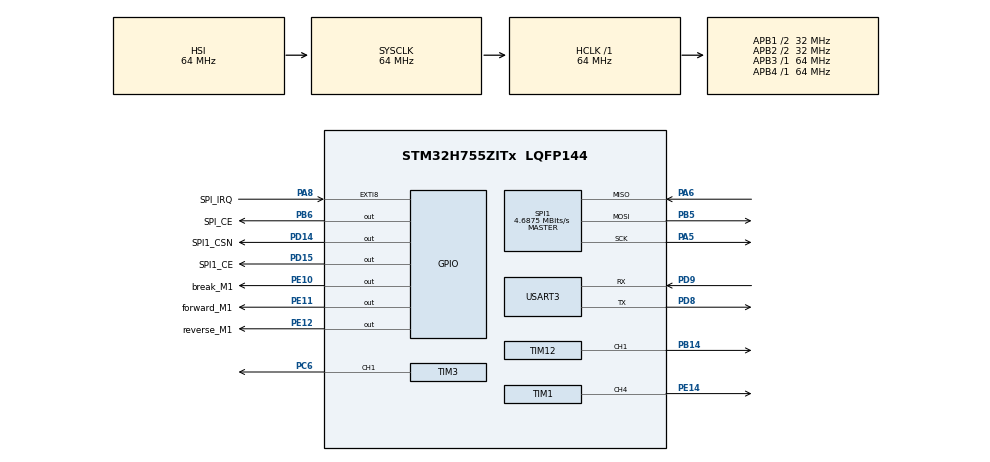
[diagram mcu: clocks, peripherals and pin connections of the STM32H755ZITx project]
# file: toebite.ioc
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CortexM4.IPs=CORTEX_M4\:I,DEBUG,FATFS_M4\:I,FREERTOS_M4\:I,IWDG2\:I,OPENAMP_M4\:I,PDM2PCM_M4\:I,PWR,RCC,RESMGR_UTILITY,SYS_M4\:I,USB_DEVICE_M4\:I,USB_HOST_M4\:I,VREFBUF,WWDG2\:I,GPIO,DMA,BDMA,MDMA,NVIC2\:I
CortexM7.IPs=CORTEX_M7\:I,DEBUG\:I,FATFS_M7\:I,FREERTOS_M7\:I,IWDG1\:I,OPENAMP_M7\:I,PDM2PCM_M7\:I,PWR\:I,RCC\:I,RESMGR_UTILITY\:I,SYS\:I,USB_DEVICE_M7\:I,USB_HOST_M7\:I,VREFBUF\:I,WWDG1\:I,GPIO\:I,DMA\:I,BDMA\:I,MDMA\:I,NVIC1\:I,SPI1\:I,USART3\:I,USB_OTG_FS\:I,TIM14\:I,TIM12\:I,TIM1\:I,TIM3\:I
CortexM7.Pins=PD14,PD15,PA8,PB6
Mcu.Family=STM32H7
Mcu.Name=STM32H755ZITx
Mcu.Package=LQFP144
NVIC1.EXTI9_5_IRQn=true\:0\:0\:false\:false\:true\:true\:true\:true
NVIC1.PriorityGroup=NVIC_PRIORITYGROUP_4
NVIC1.TIM3_IRQn=true\:0\:0\:false\:false\:true\:true\:true\:true
NVIC2.PriorityGroup=NVIC_PRIORITYGROUP_4
PA5.Mode=Full_Duplex_Master
PA5.PinAttribute=CortexM7
PA5.Signal=SPI1_SCK
PA6.Mode=Full_Duplex_Master
PA6.PinAttribute=CortexM7
PA6.Signal=SPI1_MISO
PA8.GPIO_Label=SPI_IRQ
PA8.GPIO_ModeDefaultEXTI=GPIO_MODE_IT_FALLING
PA8.PinAttribute=CortexM7
PA8.Signal=GPXTI8
PB14.PinAttribute=CortexM7
PB14.Signal=S_TIM12_CH1
PB5.Mode=Full_Duplex_Master
PB5.PinAttribute=CortexM7
PB5.Signal=SPI1_MOSI
PB6.GPIO_Label=SPI_CE
PB6.GPIO_Speed=GPIO_SPEED_FREQ_HIGH
PB6.PinAttribute=CortexM7
PB6.Signal=GPIO_Output
PC6.PinAttribute=CortexM7
PC6.Signal=S_TIM3_CH1
PD14.GPIO_Label=SPI1_CSN
PD14.GPIO_Speed=GPIO_SPEED_FREQ_HIGH
PD14.PinAttribute=CortexM7
PD14.Signal=GPIO_Output
PD15.GPIO_Label=SPI1_CE
PD15.GPIO_Speed=GPIO_SPEED_FREQ_HIGH
PD15.PinAttribute=CortexM7
PD15.Signal=GPIO_Output
PD8.Mode=Asynchronous
PD8.PinAttribute=CortexM7
PD8.Signal=USART3_TX
PD9.Mode=Asynchronous
PD9.PinAttribute=CortexM7
PD9.Signal=USART3_RX
PE10.GPIO_Label=break_M1
PE10.PinAttribute=Free
PE10.Signal=GPIO_Output
PE11.GPIO_Label=forward_M1
PE11.PinAttribute=Free
PE11.Signal=GPIO_Output
PE12.GPIO_Label=reverse_M1
PE12.PinAttribute=Free
PE12.Signal=GPIO_Output
PE14.PinAttribute=CortexM7
PE14.Signal=S_TIM1_CH4
ProjectManager.HeapSize=M4-0x200,M7-0x200
ProjectManager.StackSize=M4-0x400,M7-0x400
ProjectManager.TargetToolchain=Makefile
RCC.ADCFreq_Value=129000000
RCC.APB1Freq_Value=32000000
RCC.APB2Freq_Value=32000000
RCC.APB3Freq_Value=64000000
RCC.APB4Freq_Value=64000000
RCC.CortexFreq_Value=64000000
RCC.D2PPRE1=RCC_APB1_DIV2
RCC.D2PPRE2=RCC_APB2_DIV2
RCC.DIVM1=4
RCC.DIVN1=9
RCC.HCLKFreq_Value=64000000
RCC.PLLFRACN=3072
RCC.SYSCLKFreq_VALUE=64000000
RCC.USBFreq_Value=75000000
SH.S_TIM12_CH1.0=TIM12_CH1,PWM Generation1 CH1
SH.S_TIM1_CH4.0=TIM1_CH4,PWM Generation4 CH4
SH.S_TIM3_CH1.0=TIM3_CH1,Output Compare1 CH1
SPI1.BaudRatePrescaler=SPI_BAUDRATEPRESCALER_16
SPI1.CalculateBaudRate=4.6875 MBits/s
SPI1.DataSize=SPI_DATASIZE_8BIT
SPI1.Direction=SPI_DIRECTION_2LINES
SPI1.Mode=SPI_MODE_MASTER
SPI1.VirtualType=VM_MASTER
SYS.userName=SYS_M7
TIM1.Channel-PWM\ Generation4\ CH4=TIM_CHANNEL_4
TIM1.CounterMode=TIM_COUNTERMODE_UP
TIM1.Period=10000
TIM1.Prescaler=63
TIM1.Pulse-PWM\ Generation4\ CH4=2000
TIM12.Channel-PWM\ Generation1\ CH1=TIM_CHANNEL_1
TIM12.Period=100
TIM12.Prescaler=63999
TIM12.Pulse-PWM\ Generation1\ CH1=80
TIM14.Period=100
TIM14.Prescaler=63999
TIM3.Channel-Output\ Compare1\ CH1=TIM_CHANNEL_1
TIM3.Period=65535
TIM3.Prescaler=63
USART3.VirtualMode-Asynchronous=VM_ASYNC
VP_SYS_M4_VS_Systick.Mode=SysTick
VP_TIM14_VS_ClockSourceINT.Mode=Enable_Timer
board=custom

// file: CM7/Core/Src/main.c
/* USER CODE BEGIN Header */
/**
  ******************************************************************************
  * @file           : main.c
  * @brief          : Main program body
  ******************************************************************************
  * @attention
  *
  * Copyright (c) 2023 STMicroelectronics.
  * All rights reserved.
  *
  * This software is licensed under terms that can be found in the LICENSE file
  * in the root directory of this software component.
  * If no LICENSE file comes with this software, it is provided AS-IS.
  *
  ******************************************************************************
  */
/* USER CODE END Header */
#include "main.h"

/* USER CODE BEGIN Includes */

#include "motor.h"
#include "timer.h"
#include "nrf24l01p.h"
#include <stdarg.h>

/* USER CODE END Includes */

/* USER CODE BEGIN PTD */
static GPIO_InitTypeDef GPIO_InitStruct;
/* USER CODE END PTD */

/* USER CODE BEGIN PD */

#ifndef HSEM_ID_0
#define HSEM_ID_0 (0U) /* HW semaphore 0*/
#endif
#define TRANSMITTER
// #define RECEIVER
/* USER CODE END PD */

SPI_HandleTypeDef hspi1;

TIM_HandleTypeDef htim1;
TIM_HandleTypeDef htim3;
TIM_HandleTypeDef htim12;
TIM_HandleTypeDef htim14;

UART_HandleTypeDef huart3;

/* USER CODE BEGIN PV */
Timer timer3 = {&htim3, 0};

/* USER CODE END PV */

void SystemClock_Config(void);
static void MX_GPIO_Init(void);
static void MX_SPI1_Init(void);
static void MX_USART3_UART_Init(void);
static void MX_TIM12_Init(void);
static void MX_TIM14_Init(void);
static void MX_TIM1_Init(void);
static void MX_TIM3_Init(void);
/* USER CODE BEGIN PFP */

#ifdef __GNUC__
#define PUTCHAR_PROTOTYPE int __io_putchar(int ch)
#else
#define PUTCHAR_PROTOTYPE int fputc(int ch, FILE *f)
#endif

PUTCHAR_PROTOTYPE
{
  HAL_UART_Transmit(&huart3, (uint8_t *)&ch, 1, HAL_MAX_DELAY);
  return ch;
}

/* USER CODE END PFP */

/* USER CODE BEGIN 0 */
// void HAL_TIM_PeriodElapsedCallback(TIM_HandleTypeDef *htim){
//   printf_uart("Timer callback called\n\r");
// }
uint8_t tx_data[NRF24L01P_PAYLOAD_LENGTH] = {0, 1, 2, 3, 4, 5, 6, 7};

void HAL_GPIO_EXTI_Callback(uint16_t GPIO_Pin){
	if(GPIO_Pin == NRF24L01P_IRQ_PIN_NUMBER)
	{
  #ifdef RECEIVER
        nrf24l01p_rx_receive(rx_data);
  #endif

  #ifdef TRANSMITTER
      nrf24l01p_tx_irq();
  #endif
    }
}

int printf_uart(const char *format, ...){
  va_list argp;
  va_start(argp, format);
  uint8_t buf[256] = {};
  int length = vsnprintf(buf, 256, format, argp);
  va_end(argp);

  if (length >= 256 || length < 0) {
    HAL_UART_Transmit(&huart3, "Err: Message cutoff or bad\n", 27, HAL_MAX_DELAY);
    return -1;
  }
  HAL_UART_Transmit(&huart3, buf, length, HAL_MAX_DELAY);
  return 0;

}

/* USER CODE END 0 */

int main(void)
{
  /* USER CODE BEGIN 1 */
  MotorPWM motor1 = {&htim1, TIM_CHANNEL_4, 0, GPIO_PIN_15, GPIO_PIN_13, GPIO_PIN_0, GPIOD, GPIOD, GPIOE};
  nrf24l01p_tx_init(2450, _1Mbps);
  startMotor(&motor1);

  /* USER CODE END 1 */
/* USER CODE BEGIN Boot_Mode_Sequence_0 */
  int32_t timeout;
/* USER CODE END Boot_Mode_Sequence_0 */

/* USER CODE BEGIN Boot_Mode_Sequence_1 */
  /* Wait until CPU2 boots and enters in stop mode or timeout*/
  timeout = 0xFFFF;
  while((__HAL_RCC_GET_FLAG(RCC_FLAG_D2CKRDY) != RESET) && (timeout-- > 0));
  if ( timeout < 0 )
  {
  Error_Handler();
  }
/* USER CODE END Boot_Mode_Sequence_1 */
  /* MCU Configuration--------------------------------------------------------*/

  /* Reset of all peripherals, Initializes the Flash interface and the Systick. */
  HAL_Init();

  /* USER CODE BEGIN Init */
  __HAL_RCC_GPIOB_CLK_ENABLE();
  GPIO_InitStruct.Mode  = GPIO_MODE_OUTPUT_PP;
  GPIO_InitStruct.Pull  = GPIO_NOPULL;
  GPIO_InitStruct.Speed = GPIO_SPEED_FREQ_HIGH;
  GPIO_InitStruct.Pin = GPIO_PIN_14; // pin D04
  HAL_GPIO_Init(GPIOB, &GPIO_InitStruct);

  /* USER CODE END Init */

  /* Configure the system clock */
  SystemClock_Config();
/* USER CODE BEGIN Boot_Mode_Sequence_2 */
/* When system initialization is finished, Cortex-M7 will release Cortex-M4 by means of
HSEM notification */
/*HW semaphore Clock enable*/
__HAL_RCC_HSEM_CLK_ENABLE();
/*Take HSEM */
HAL_HSEM_FastTake(HSEM_ID_0);
/*Release HSEM in order to notify the CPU2(CM4)*/
HAL_HSEM_Release(HSEM_ID_0,0);
/* wait until CPU2 wakes up from stop mode */
timeout = 0xFFFF;
while((__HAL_RCC_GET_FLAG(RCC_FLAG_D2CKRDY) == RESET) && (timeout-- > 0));
if ( timeout < 0 )
{
Error_Handler();
}
/* USER CODE END Boot_Mode_Sequence_2 */

  /* Initialize all configured peripherals */
  MX_GPIO_Init();
  MX_SPI1_Init();
  MX_USART3_UART_Init();
  MX_TIM12_Init();
  MX_TIM14_Init();
  MX_TIM1_Init();
  MX_TIM3_Init();

  /* Infinite loop */
  /* USER CODE BEGIN WHILE */
  HAL_TIM_Base_Start(&htim12);
  HAL_TIM_PWM_Init(&htim12);
  HAL_TIM_PWM_Start(&htim12, TIM_CHANNEL_1);
  HAL_TIM_Base_Start(&htim1);
  HAL_TIM_PWM_Init(&htim1);
  HAL_TIM_PWM_Start(&htim1, TIM_CHANNEL_4);
  while (1)
  {
    // for (int i = 0; i < 100; i++)
    // {
    //   setSpeed(&motor1, i);
    //   HAL_Delay(100);
    // }
    // for (int i = 100; i > 0; i--)
    // {
    //   setSpeed(&motor1, i);
    //   HAL_Delay(100);
    // }
#ifdef RECEIVER
	  // Nothing to do
#endif

#ifdef TRANSMITTER

	  for(int i= 0; i < 8; i++)
	  {
		  tx_data[i]++;
	  }

	  // nrf24l01p_tx_transmit(tx_data);
    // HAL_GPIO_WritePin(GPIOB, GPIO_PIN_14, GPIO_PIN_SET);
    // HAL_Delay(100);
    // uint8_t tx_buff[]={8,1,2,3,4,5,6,7,8,9};
    // uint8_t uartbuffer[100]={};
    // snprintf(uartbuffer, 20, "Hello World!\n");
    // printf_uart("%s%d\n\r", "Hello World: ", 10);
    // HAL_UART_Transmit(&huart3, uartbuffer, 10, HAL_MAX_DELAY);
    // HAL_GPIO_WritePin(GPIOB, GPIO_PIN_14, GPIO_PIN_RESET);
    // HAL_Delay(100)
#endif

    /* USER CODE END WHILE */

  }
}

void SystemClock_Config(void)
{
  RCC_OscInitTypeDef RCC_OscInitStruct = {0};
  RCC_ClkInitTypeDef RCC_ClkInitStruct = {0};

  /** Supply configuration update enable
  */
  HAL_PWREx_ConfigSupply(PWR_DIRECT_SMPS_SUPPLY);

  /** Configure the main internal regulator output voltage
  */
  __HAL_PWR_VOLTAGESCALING_CONFIG(PWR_REGULATOR_VOLTAGE_SCALE3);

  while(!__HAL_PWR_GET_FLAG(PWR_FLAG_VOSRDY)) {}

  /** Initializes the RCC Oscillators according to the specified parameters
  * in the RCC_OscInitTypeDef structure.
  */
  RCC_OscInitStruct.OscillatorType = RCC_OSCILLATORTYPE_HSI;
  RCC_OscInitStruct.HSIState = RCC_HSI_DIV1;
  RCC_OscInitStruct.HSICalibrationValue = RCC_HSICALIBRATION_DEFAULT;
  RCC_OscInitStruct.PLL.PLLState = RCC_PLL_ON;
  RCC_OscInitStruct.PLL.PLLSource = RCC_PLLSOURCE_HSI;
  RCC_OscInitStruct.PLL.PLLM = 4;
  RCC_OscInitStruct.PLL.PLLN = 9;
  RCC_OscInitStruct.PLL.PLLP = 2;
  RCC_OscInitStruct.PLL.PLLQ = 2;
  RCC_OscInitStruct.PLL.PLLR = 2;
  RCC_OscInitStruct.PLL.PLLRGE = RCC_PLL1VCIRANGE_3;
  RCC_OscInitStruct.PLL.PLLVCOSEL = RCC_PLL1VCOMEDIUM;
  RCC_OscInitStruct.PLL.PLLFRACN = 3072;
  if (HAL_RCC_OscConfig(&RCC_OscInitStruct) != HAL_OK)
  {
    Error_Handler();
  }

  /** Initializes the CPU, AHB and APB buses clocks
  */
  RCC_ClkInitStruct.ClockType = RCC_CLOCKTYPE_HCLK|RCC_CLOCKTYPE_SYSCLK
                              |RCC_CLOCKTYPE_PCLK1|RCC_CLOCKTYPE_PCLK2
                              |RCC_CLOCKTYPE_D3PCLK1|RCC_CLOCKTYPE_D1PCLK1;
  RCC_ClkInitStruct.SYSCLKSource = RCC_SYSCLKSOURCE_HSI;
  RCC_ClkInitStruct.SYSCLKDivider = RCC_SYSCLK_DIV1;
  RCC_ClkInitStruct.AHBCLKDivider = RCC_HCLK_DIV1;
  RCC_ClkInitStruct.APB3CLKDivider = RCC_APB3_DIV1;
  RCC_ClkInitStruct.APB1CLKDivider = RCC_APB1_DIV2;
  RCC_ClkInitStruct.APB2CLKDivider = RCC_APB2_DIV2;
  RCC_ClkInitStruct.APB4CLKDivider = RCC_APB4_DIV1;

  if (HAL_RCC_ClockConfig(&RCC_ClkInitStruct, FLASH_LATENCY_1) != HAL_OK)
  {
    Error_Handler();
  }
}

static void MX_SPI1_Init(void)
{

  /* SPI1 parameter configuration*/
  hspi1.Instance = SPI1;
  hspi1.Init.Mode = SPI_MODE_MASTER;
  hspi1.Init.Direction = SPI_DIRECTION_2LINES;
  hspi1.Init.DataSize = SPI_DATASIZE_8BIT;
  hspi1.Init.CLKPolarity = SPI_POLARITY_LOW;
  hspi1.Init.CLKPhase = SPI_PHASE_1EDGE;
  hspi1.Init.NSS = SPI_NSS_SOFT;
  hspi1.Init.BaudRatePrescaler = SPI_BAUDRATEPRESCALER_16;
  hspi1.Init.FirstBit = SPI_FIRSTBIT_MSB;
  hspi1.Init.TIMode = SPI_TIMODE_DISABLE;
  hspi1.Init.CRCCalculation = SPI_CRCCALCULATION_DISABLE;
  hspi1.Init.CRCPolynomial = 0x0;
  hspi1.Init.NSSPMode = SPI_NSS_PULSE_ENABLE;
  hspi1.Init.NSSPolarity = SPI_NSS_POLARITY_LOW;
  hspi1.Init.FifoThreshold = SPI_FIFO_THRESHOLD_01DATA;
  hspi1.Init.TxCRCInitializationPattern = SPI_CRC_INITIALIZATION_ALL_ZERO_PATTERN;
  hspi1.Init.RxCRCInitializationPattern = SPI_CRC_INITIALIZATION_ALL_ZERO_PATTERN;
  hspi1.Init.MasterSSIdleness = SPI_MASTER_SS_IDLENESS_00CYCLE;
  hspi1.Init.MasterInterDataIdleness = SPI_MASTER_INTERDATA_IDLENESS_00CYCLE;
  hspi1.Init.MasterReceiverAutoSusp = SPI_MASTER_RX_AUTOSUSP_DISABLE;
  hspi1.Init.MasterKeepIOState = SPI_MASTER_KEEP_IO_STATE_DISABLE;
  hspi1.Init.IOSwap = SPI_IO_SWAP_DISABLE;
  if (HAL_SPI_Init(&hspi1) != HAL_OK)
  {
    Error_Handler();
  }

}

static void MX_TIM1_Init(void)
{

  TIM_MasterConfigTypeDef sMasterConfig = {0};
  TIM_OC_InitTypeDef sConfigOC = {0};
  TIM_BreakDeadTimeConfigTypeDef sBreakDeadTimeConfig = {0};

  htim1.Instance = TIM1;
  htim1.Init.Prescaler = 63;
  htim1.Init.CounterMode = TIM_COUNTERMODE_UP;
  htim1.Init.Period = 10000;
  htim1.Init.ClockDivision = TIM_CLOCKDIVISION_DIV1;
  htim1.Init.RepetitionCounter = 0;
  htim1.Init.AutoReloadPreload = TIM_AUTORELOAD_PRELOAD_DISABLE;
  if (HAL_TIM_PWM_Init(&htim1) != HAL_OK)
  {
    Error_Handler();
  }
  sMasterConfig.MasterOutputTrigger = TIM_TRGO_RESET;
  sMasterConfig.MasterOutputTrigger2 = TIM_TRGO2_RESET;
  sMasterConfig.MasterSlaveMode = TIM_MASTERSLAVEMODE_DISABLE;
  if (HAL_TIMEx_MasterConfigSynchronization(&htim1, &sMasterConfig) != HAL_OK)
  {
    Error_Handler();
  }
  sConfigOC.OCMode = TIM_OCMODE_PWM1;
  sConfigOC.Pulse = 2000;
  sConfigOC.OCPolarity = TIM_OCPOLARITY_HIGH;
  sConfigOC.OCFastMode = TIM_OCFAST_DISABLE;
  sConfigOC.OCIdleState = TIM_OCIDLESTATE_RESET;
  sConfigOC.OCNIdleState = TIM_OCNIDLESTATE_RESET;
  if (HAL_TIM_PWM_ConfigChannel(&htim1, &sConfigOC, TIM_CHANNEL_4) != HAL_OK)
  {
    Error_Handler();
  }
  sBreakDeadTimeConfig.OffStateRunMode = TIM_OSSR_DISABLE;
  sBreakDeadTimeConfig.OffStateIDLEMode = TIM_OSSI_DISABLE;
  sBreakDeadTimeConfig.LockLevel = TIM_LOCKLEVEL_OFF;
  sBreakDeadTimeConfig.DeadTime = 0;
  sBreakDeadTimeConfig.BreakState = TIM_BREAK_DISABLE;
  sBreakDeadTimeConfig.BreakPolarity = TIM_BREAKPOLARITY_HIGH;
  sBreakDeadTimeConfig.BreakFilter = 0;
  sBreakDeadTimeConfig.Break2State = TIM_BREAK2_DISABLE;
  sBreakDeadTimeConfig.Break2Polarity = TIM_BREAK2POLARITY_HIGH;
  sBreakDeadTimeConfig.Break2Filter = 0;
  sBreakDeadTimeConfig.AutomaticOutput = TIM_AUTOMATICOUTPUT_DISABLE;
  if (HAL_TIMEx_ConfigBreakDeadTime(&htim1, &sBreakDeadTimeConfig) != HAL_OK)
  {
    Error_Handler();
  }
  HAL_TIM_MspPostInit(&htim1);

}

static void MX_TIM3_Init(void)
{

  TIM_MasterConfigTypeDef sMasterConfig = {0};
  TIM_OC_InitTypeDef sConfigOC = {0};

  htim3.Instance = TIM3;
  htim3.Init.Prescaler = 63;
  htim3.Init.CounterMode = TIM_COUNTERMODE_UP;
  htim3.Init.Period = 65535;
  htim3.Init.ClockDivision = TIM_CLOCKDIVISION_DIV1;
  htim3.Init.AutoReloadPreload = TIM_AUTORELOAD_PRELOAD_DISABLE;
  if (HAL_TIM_OC_Init(&htim3) != HAL_OK)
  {
    Error_Handler();
  }
  sMasterConfig.MasterOutputTrigger = TIM_TRGO_RESET;
  sMasterConfig.MasterSlaveMode = TIM_MASTERSLAVEMODE_DISABLE;
  if (HAL_TIMEx_MasterConfigSynchronization(&htim3, &sMasterConfig) != HAL_OK)
  {
    Error_Handler();
  }
  sConfigOC.OCMode = TIM_OCMODE_TIMING;
  sConfigOC.Pulse = 0;
  sConfigOC.OCPolarity = TIM_OCPOLARITY_HIGH;
  sConfigOC.OCFastMode = TIM_OCFAST_DISABLE;
  if (HAL_TIM_OC_ConfigChannel(&htim3, &sConfigOC, TIM_CHANNEL_1) != HAL_OK)
  {
    Error_Handler();
  }
  HAL_TIM_MspPostInit(&htim3);

}

static void MX_TIM12_Init(void)
{

  TIM_MasterConfigTypeDef sMasterConfig = {0};
  TIM_OC_InitTypeDef sConfigOC = {0};

  htim12.Instance = TIM12;
  htim12.Init.Prescaler = 63999;
  htim12.Init.CounterMode = TIM_COUNTERMODE_UP;
  htim12.Init.Period = 100;
  htim12.Init.ClockDivision = TIM_CLOCKDIVISION_DIV1;
  htim12.Init.AutoReloadPreload = TIM_AUTORELOAD_PRELOAD_DISABLE;
  if (HAL_TIM_PWM_Init(&htim12) != HAL_OK)
  {
    Error_Handler();
  }
  sMasterConfig.MasterOutputTrigger = TIM_TRGO_RESET;
  sMasterConfig.MasterSlaveMode = TIM_MASTERSLAVEMODE_DISABLE;
  if (HAL_TIMEx_MasterConfigSynchronization(&htim12, &sMasterConfig) != HAL_OK)
  {
    Error_Handler();
  }
  sConfigOC.OCMode = TIM_OCMODE_PWM1;
  sConfigOC.Pulse = 80;
  sConfigOC.OCPolarity = TIM_OCPOLARITY_HIGH;
  sConfigOC.OCFastMode = TIM_OCFAST_DISABLE;
  if (HAL_TIM_PWM_ConfigChannel(&htim12, &sConfigOC, TIM_CHANNEL_1) != HAL_OK)
  {
    Error_Handler();
  }
  HAL_TIM_MspPostInit(&htim12);

}

static void MX_TIM14_Init(void)
{

  htim14.Instance = TIM14;
  htim14.Init.Prescaler = 63999;
  htim14.Init.CounterMode = TIM_COUNTERMODE_UP;
  htim14.Init.Period = 100;
  htim14.Init.ClockDivision = TIM_CLOCKDIVISION_DIV1;
  htim14.Init.AutoReloadPreload = TIM_AUTORELOAD_PRELOAD_DISABLE;
  if (HAL_TIM_Base_Init(&htim14) != HAL_OK)
  {
    Error_Handler();
  }

}

static void MX_USART3_UART_Init(void)
{

  huart3.Instance = USART3;
  huart3.Init.BaudRate = 115200;
  huart3.Init.WordLength = UART_WORDLENGTH_8B;
  huart3.Init.StopBits = UART_STOPBITS_1;
  huart3.Init.Parity = UART_PARITY_NONE;
  huart3.Init.Mode = UART_MODE_TX_RX;
  huart3.Init.HwFlowCtl = UART_HWCONTROL_NONE;
  huart3.Init.OverSampling = UART_OVERSAMPLING_16;
  huart3.Init.OneBitSampling = UART_ONE_BIT_SAMPLE_DISABLE;
  huart3.Init.ClockPrescaler = UART_PRESCALER_DIV1;
  huart3.AdvancedInit.AdvFeatureInit = UART_ADVFEATURE_NO_INIT;
  if (HAL_UART_Init(&huart3) != HAL_OK)
  {
    Error_Handler();
  }
  if (HAL_UARTEx_SetTxFifoThreshold(&huart3, UART_TXFIFO_THRESHOLD_1_8) != HAL_OK)
  {
    Error_Handler();
  }
  if (HAL_UARTEx_SetRxFifoThreshold(&huart3, UART_RXFIFO_THRESHOLD_1_8) != HAL_OK)
  {
    Error_Handler();
  }
  if (HAL_UARTEx_DisableFifoMode(&huart3) != HAL_OK)
  {
    Error_Handler();
  }

}

static void MX_GPIO_Init(void)
{
  GPIO_InitTypeDef GPIO_InitStruct = {0};

  /* GPIO Ports Clock Enable */
  __HAL_RCC_GPIOA_CLK_ENABLE();
  __HAL_RCC_GPIOE_CLK_ENABLE();
  __HAL_RCC_GPIOB_CLK_ENABLE();
  __HAL_RCC_GPIOD_CLK_ENABLE();
  __HAL_RCC_GPIOC_CLK_ENABLE();

  /*Configure GPIO pin Output Level */
  HAL_GPIO_WritePin(GPIOD, SPI1_CSN_Pin|SPI1_CE_Pin, GPIO_PIN_RESET);

  /*Configure GPIO pin Output Level */
  HAL_GPIO_WritePin(SPI_CE_GPIO_Port, SPI_CE_Pin, GPIO_PIN_RESET);

  /*Configure GPIO pins : SPI1_CSN_Pin SPI1_CE_Pin */
  GPIO_InitStruct.Pin = SPI1_CSN_Pin|SPI1_CE_Pin;
  GPIO_InitStruct.Mode = GPIO_MODE_OUTPUT_PP;
  GPIO_InitStruct.Pull = GPIO_NOPULL;
  GPIO_InitStruct.Speed = GPIO_SPEED_FREQ_HIGH;
  HAL_GPIO_Init(GPIOD, &GPIO_InitStruct);

  /*Configure GPIO pin : SPI_IRQ_Pin */
  GPIO_InitStruct.Pin = SPI_IRQ_Pin;
  GPIO_InitStruct.Mode = GPIO_MODE_IT_FALLING;
  GPIO_InitStruct.Pull = GPIO_NOPULL;
  HAL_GPIO_Init(SPI_IRQ_GPIO_Port, &GPIO_InitStruct);

  /*Configure GPIO pin : SPI_CE_Pin */
  GPIO_InitStruct.Pin = SPI_CE_Pin;
  GPIO_InitStruct.Mode = GPIO_MODE_OUTPUT_PP;
  GPIO_InitStruct.Pull = GPIO_NOPULL;
  GPIO_InitStruct.Speed = GPIO_SPEED_FREQ_HIGH;
  HAL_GPIO_Init(SPI_CE_GPIO_Port, &GPIO_InitStruct);

  /* EXTI interrupt init*/
  HAL_NVIC_SetPriority(EXTI9_5_IRQn, 0, 0);
  HAL_NVIC_EnableIRQ(EXTI9_5_IRQn);

}

void Error_Handler(void)
{
  __disable_irq();
  while (1)
  {
  }
}
